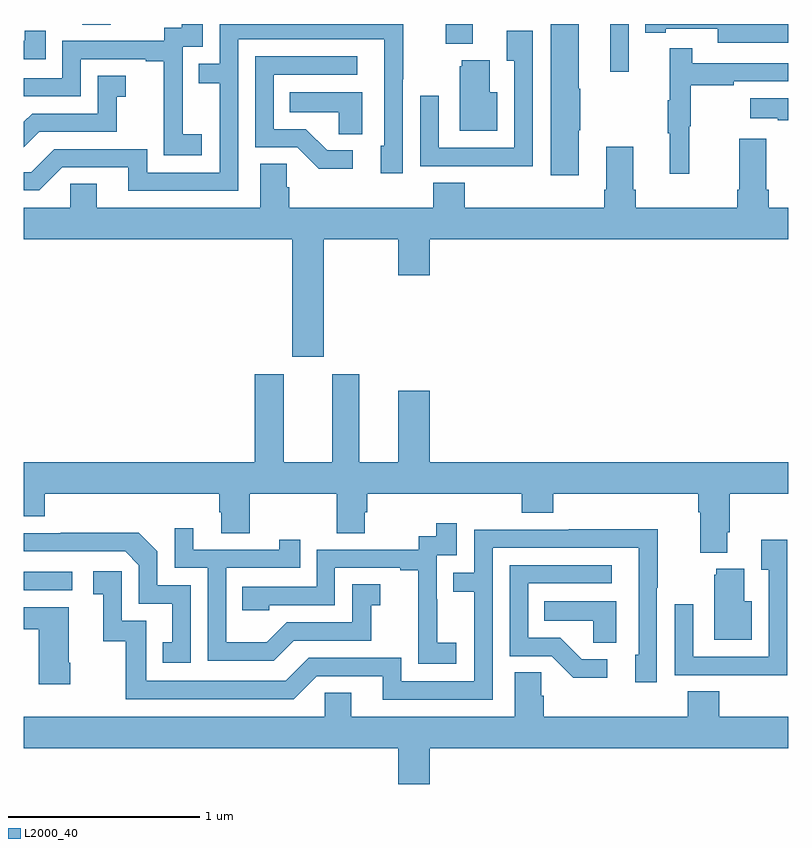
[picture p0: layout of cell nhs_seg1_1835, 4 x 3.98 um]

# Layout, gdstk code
import gdstk
lib = gdstk.Library(unit=1e-6, precision=1e-09)
def R(c, l, rs):  # rectangles x0, y0, x1, y1
    for r in rs: c.add(gdstk.rectangle(r[:2], r[2:], *l))
def P(c, l, *ps):  # polygons
    for p in ps: c.add(gdstk.Polygon(p, *l))
L2000_40 = (2000, 40)

nhs_seg1_1835 = lib.new_cell('nhs_seg1_1835')
R(nhs_seg1_1835, L2000_40, [(211,543.234,211.252,543.33), (214.07,545.949,214.167,546.199), (213.209,546.095,213.349,546.199), (211.306,546.196,211.453,546.199)])
P(nhs_seg1_1835, L2000_40, [(211.93,545.623),(211.832,545.623),(211.832,545.852),(211.83,545.852),(211.83,546.081),(211.935,546.081),(211.935,546.199),(211.827,546.199),(211.827,546.18),(211.734,546.18),(211.734,546.111),(211.2,546.111),(211.2,545.916),(211,545.916),(211,545.82),(211.296,545.82),(211.296,546.015),(211.637,546.015),(211.637,546.003),(211.733,546.003),(211.733,545.719),(211.732,545.719),(211.732,545.513),(211.93,545.513)],
  [(213.904,545.644),(213.912,545.644),(213.912,545.861),(213.904,545.861),(213.904,546.199),(213.758,546.199),(213.758,545.406),(213.904,545.406)],
  [(212.121,546.12),(212.886,546.12),(212.886,545.562),(212.867,545.562),(212.867,545.418),(212.982,545.418),(212.982,545.911),(212.985,545.911),(212.985,546.199),(212.025,546.199),(212.025,545.991),(211.915,545.991),(211.915,545.89),(212.025,545.89),(212.025,545.421),(211.644,545.421),(211.644,545.544),(211.158,545.544),(211.038,545.424),(211,545.424),(211,545.328),(211.08,545.328),(211.2,545.448),(211.547,545.448),(211.547,545.325),(212.121,545.325)],
  [(215,546.198),(214.728,546.198),(214.728,546.199),(214.252,546.199),(214.252,546.154),(214.36,546.154),(214.36,546.174),(214.632,546.174),(214.632,546.102),(215,546.102)],
  [(211.115,546.163),(211.004,546.163),(211.004,546.111),(211,546.111),(211,546.015),(211.115,546.015)],
  [(213.663,546.163),(213.527,546.163),(213.527,546.007),(213.567,546.007),(213.567,545.55),(213.171,545.55),(213.171,545.824),(213.075,545.824),(213.075,545.454),(213.391,545.454),(213.391,545.453),(213.663,545.453)],
  [(214.484,545.664),(214.492,545.664),(214.492,545.878),(214.715,545.878),(214.715,545.898),(215,545.898),(215,545.994),(214.499,545.994),(214.499,546.073),(214.382,546.073),(214.382,545.801),(214.371,545.801),(214.371,545.627),(214.382,545.627),(214.382,545.415),(214.484,545.415)],
  [(212.722,545.538),(212.587,545.538),(212.476,545.649),(212.307,545.649),(212.307,545.934),(212.746,545.934),(212.746,546.03),(212.211,546.03),(212.211,545.553),(212.43,545.553),(212.543,545.441),(212.722,545.441)],
  [(213.478,545.842),(213.439,545.842),(213.439,546.01),(213.293,546.01),(213.293,545.979),(213.281,545.979),(213.281,545.639),(213.478,545.639)],
  [(211.081,545.634),(211.485,545.634),(211.485,545.819),(211.534,545.819),(211.534,545.929),(211.386,545.929),(211.386,545.73),(211.044,545.73),(211,545.686),(211,545.553)],
  [(212.77,545.842),(212.392,545.842),(212.392,545.738),(212.649,545.738),(212.649,545.623),(212.77,545.623)],
  [(215,545.809),(214.803,545.809),(214.803,545.705),(214.946,545.705),(214.946,545.695),(215,545.695)],
  [(212.569,545.072),(212.96,545.072),(212.96,544.884),(213.124,544.884),(213.124,545.072),(215,545.072),(215,545.236),(214.898,545.236),(214.898,545.332),(214.885,545.332),(214.885,545.599),(214.745,545.599),(214.745,545.332),(214.733,545.332),(214.733,545.236),(214.202,545.236),(214.202,545.332),(214.189,545.332),(214.189,545.557),(214.049,545.557),(214.049,545.332),(214.037,545.332),(214.037,545.236),(213.308,545.236),(213.308,545.369),(213.143,545.369),(213.143,545.236),(212.39,545.236),(212.39,545.345),(212.376,545.345),(212.376,545.468),(212.237,545.468),(212.237,545.236),(211.381,545.236),(211.381,545.363),(211.242,545.363),(211.242,545.236),(211,545.236),(211,545.072),(212.405,545.072),(212.405,544.458),(212.569,544.458)],
  [(214.681,543.538),(214.694,543.538),(214.694,543.74),(215,543.74),(215,543.904),(213.124,543.904),(213.124,544.279),(212.96,544.279),(212.96,543.904),(212.755,543.904),(212.755,544.366),(212.615,544.366),(212.615,543.904),(212.359,543.904),(212.359,544.366),(212.207,544.366),(212.207,543.904),(211,543.904),(211,543.623),(211.109,543.623),(211.109,543.74),(212.021,543.74),(212.021,543.642),(212.033,543.642),(212.033,543.532),(212.181,543.532),(212.181,543.74),(212.638,543.74),(212.638,543.532),(212.785,543.532),(212.785,543.642),(212.798,543.642),(212.798,543.74),(213.605,543.74),(213.605,543.641),(213.77,543.641),(213.77,543.74),(214.529,543.74),(214.529,543.644),(214.541,543.644),(214.541,543.431),(214.681,543.431)],
  [(213.262,542.959),(213.164,542.959),(213.164,543.188),(213.162,543.188),(213.162,543.417),(213.267,543.417),(213.267,543.586),(213.159,543.586),(213.159,543.516),(213.066,543.516),(213.066,543.447),(212.532,543.447),(212.532,543.252),(212.143,543.252),(212.143,543.129),(212.283,543.129),(212.283,543.156),(212.628,543.156),(212.628,543.351),(212.969,543.351),(212.969,543.339),(213.065,543.339),(213.065,543.055),(213.064,543.055),(213.064,542.849),(213.262,542.849)],
  [(212.413,542.97),(212.817,542.97),(212.817,543.155),(212.866,543.155),(212.866,543.265),(212.718,543.265),(212.718,543.066),(212.376,543.066),(212.272,542.962),(212.058,542.962),(212.058,543.351),(212.447,543.351),(212.447,543.499),(212.336,543.499),(212.336,543.447),(211.885,543.447),(211.885,543.559),(211.788,543.559),(211.788,543.351),(211.962,543.351),(211.962,542.865),(212.308,542.865)],
  [(213.453,543.456),(214.218,543.456),(214.218,542.898),(214.199,542.898),(214.199,542.754),(214.314,542.754),(214.314,543.247),(214.317,543.247),(214.317,543.554),(213.853,543.554),(213.853,543.552),(213.357,543.552),(213.357,543.327),(213.247,543.327),(213.247,543.226),(213.357,543.226),(213.357,542.757),(212.976,542.757),(212.976,542.88),(212.49,542.88),(212.37,542.76),(211.641,542.76),(211.641,543.075),(211.512,543.075),(211.512,543.334),(211.362,543.334),(211.362,543.213),(211.415,543.213),(211.415,542.967),(211.533,542.967),(211.533,542.664),(212.412,542.664),(212.532,542.784),(212.879,542.784),(212.879,542.661),(213.453,542.661)],
  [(211.872,543.261),(211.698,543.261),(211.698,543.438),(211.6,543.536),(211.192,543.536),(211.192,543.534),(211,543.534),(211,543.438),(211.53,543.438),(211.602,543.366),(211.602,543.165),(211.775,543.165),(211.775,542.961),(211.726,542.961),(211.726,542.856),(211.872,542.856)],
  [(214.995,543.499),(214.859,543.499),(214.859,543.343),(214.899,543.343),(214.899,542.886),(214.503,542.886),(214.503,543.16),(214.407,543.16),(214.407,542.79),(214.723,542.79),(214.723,542.789),(214.995,542.789)],
  [(214.054,542.874),(213.919,542.874),(213.808,542.985),(213.639,542.985),(213.639,543.27),(214.078,543.27),(214.078,543.366),(213.543,543.366),(213.543,542.889),(213.762,542.889),(213.875,542.777),(214.054,542.777)],
  [(214.81,543.178),(214.771,543.178),(214.771,543.346),(214.625,543.346),(214.625,543.315),(214.613,543.315),(214.613,542.975),(214.81,542.975)],
  [(214.102,543.178),(213.724,543.178),(213.724,543.074),(213.981,543.074),(213.981,542.959),(214.102,542.959)],
  [(211.242,542.854),(211.234,542.854),(211.234,543.145),(211,543.145),(211,543.031),(211.076,543.031),(211.076,542.742),(211.242,542.742)],
  [(213.124,542.408),(215,542.408),(215,542.572),(214.64,542.572),(214.64,542.705),(214.475,542.705),(214.475,542.572),(213.722,542.572),(213.722,542.681),(213.708,542.681),(213.708,542.804),(213.569,542.804),(213.569,542.572),(212.713,542.572),(212.713,542.699),(212.574,542.699),(212.574,542.572),(211,542.572),(211,542.408),(212.96,542.408),(212.96,542.22),(213.124,542.22)])

lib.write_gds('nhs_seg1_1835.gds')
